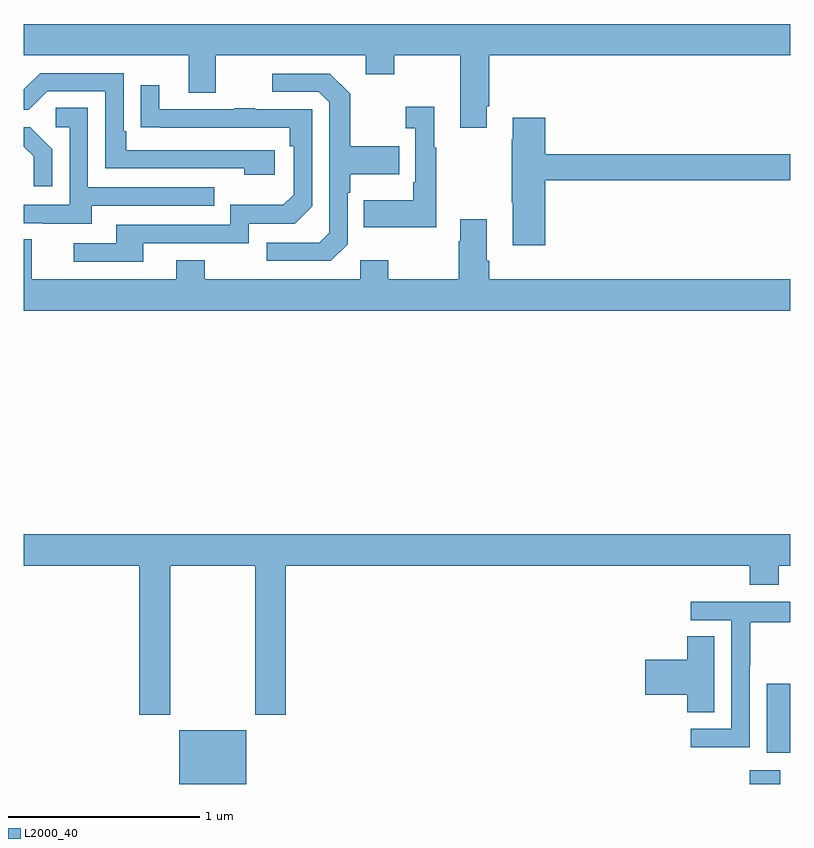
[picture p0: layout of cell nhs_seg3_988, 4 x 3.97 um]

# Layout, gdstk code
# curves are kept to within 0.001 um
import gdstk
lib = gdstk.Library(unit=1e-6, precision=1e-09)
def R(c, l, rs):  # rectangles x0, y0, x1, y1
    for r in rs: c.add(gdstk.rectangle(r[:2], r[2:], *l))
def P(c, l, *ps):  # polygons
    for p in ps: c.add(gdstk.Polygon(p, *l))
L2000_40 = (2000, 40)

nhs_seg3_988 = lib.new_cell('nhs_seg3_988')
R(nhs_seg3_988, L2000_40, [(161.81,742.4,162.16,742.681), (164.789,742.4,164.949,742.471), (164.879,742.562,165,742.923)])
P(nhs_seg3_988, L2000_40, [(163.417,745.939),(163.43,745.939),(163.43,746.204),(165,746.204),(165,746.368),(161,746.368),(161,746.204),(161.861,746.204),(161.861,746.01),(162.001,746.01),(162.001,746.204),(162.785,746.204),(162.785,746.105),(162.933,746.105),(162.933,746.204),(163.277,746.204),(163.277,745.827),(163.417,745.827)],
  [(162.31,745.71),(161.533,745.71),(161.533,745.807),(161.52,745.807),(161.52,746.112),(161.085,746.112),(161,746.027),(161,745.92),(161.025,745.92),(161.121,746.016),(161.424,746.016),(161.424,745.614),(162.149,745.614),(162.149,745.58),(162.31,745.58)],
  [(162.69,745.218),(162.69,745.487),(162.703,745.487),(162.703,745.583),(162.959,745.583),(162.959,745.731),(162.703,745.731),(162.703,746.003),(162.597,746.109),(162.297,746.109),(162.297,746.013),(162.54,746.013),(162.594,745.959),(162.594,745.278),(162.543,745.227),(162.267,745.227),(162.267,745.131),(162.603,745.131)],
  [(161.623,745.224),(162.174,745.224),(162.174,745.326),(162.414,745.326),(162.504,745.416),(162.504,745.923),(162.209,745.923),(162.209,745.928),(162.097,745.928),(162.097,745.923),(161.707,745.923),(161.707,746.047),(161.611,746.047),(161.611,745.828),(162.388,745.827),(162.388,745.73),(162.408,745.73),(162.408,745.476),(162.355,745.423),(162.078,745.423),(162.078,745.32),(161.483,745.32),(161.483,745.224),(161.259,745.224),(161.259,745.128),(161.623,745.128)],
  [(163.153,745.723),(163.141,745.723),(163.141,745.936),(162.993,745.936),(162.993,745.823),(163.044,745.823),(163.044,745.543),(163.032,745.543),(163.032,745.447),(162.775,745.447),(162.775,745.307),(163.153,745.307)],
  [(161.353,745.419),(161.993,745.419),(161.993,745.515),(161.334,745.515),(161.334,745.931),(161.166,745.931),(161.166,745.83),(161.238,745.83),(161.238,745.425),(161,745.425),(161,745.329),(161.099,745.329),(161.099,745.325),(161.353,745.325)],
  [(163.721,745.552),(165,745.552),(165,745.688),(163.721,745.688),(163.721,745.879),(163.553,745.879),(163.553,745.766),(163.546,745.766),(163.546,745.435),(163.553,745.435),(163.553,745.212),(163.721,745.212)],
  [(161.148,745.714),(161.032,745.83),(161,745.83),(161,745.728),(161.051,745.677),(161.051,745.521),(161.148,745.521)],
  [(165,745.036),(163.43,745.036),(163.43,745.132),(163.417,745.132),(163.417,745.348),(163.277,745.348),(163.277,745.235),(163.27,745.235),(163.27,745.036),(162.903,745.036),(162.903,745.135),(162.756,745.135),(162.756,745.036),(161.943,745.036),(161.943,745.135),(161.795,745.135),(161.795,745.036),(161.041,745.036),(161.041,745.244),(161,745.244),(161,744.872),(165,744.872)],
  [(161.763,743.54),(162.208,743.54),(162.208,742.761),(162.368,742.761),(162.368,743.54),(164.789,743.54),(164.789,743.441),(164.941,743.441),(164.941,743.54),(165,743.54),(165,743.704),(161,743.704),(161,743.54),(161.603,743.54),(161.603,742.761),(161.763,742.761)],
  [(164.79,743.02),(164.793,743.02),(164.793,743.244),(165,743.244),(165,743.352),(164.481,743.352),(164.481,743.256),(164.694,743.256),(164.694,742.689),(164.481,742.689),(164.481,742.591),(164.79,742.591)],
  [(164.605,743.171),(164.462,743.171),(164.462,743.048),(164.244,743.048),(164.244,742.865),(164.462,742.865),(164.462,742.774),(164.605,742.774)])

lib.write_gds('nhs_seg3_988.gds')
